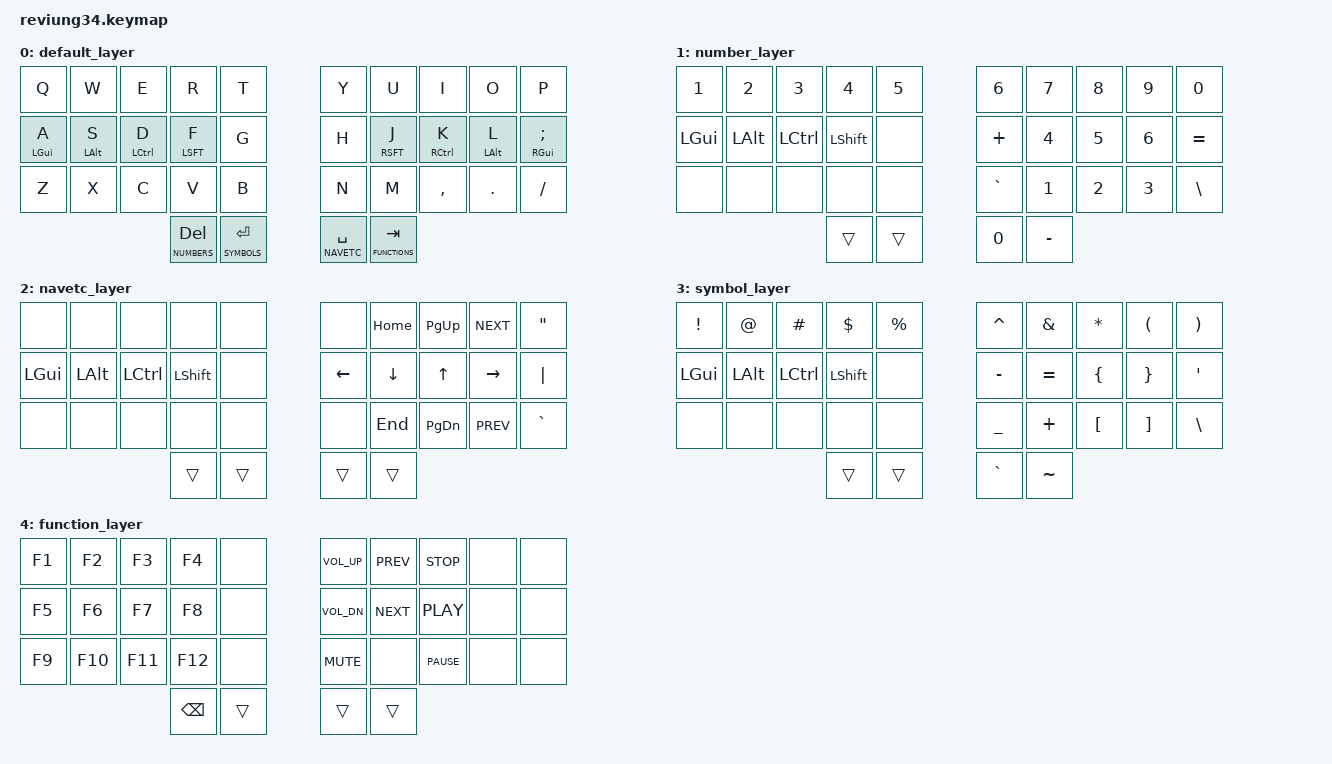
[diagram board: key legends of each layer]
/*
 * Copyright (c) 2020 The ZMK Contributors
 *
 * SPDX-License-Identifier: MIT
 */

#include <behaviors.dtsi>
#include <dt-bindings/zmk/keys.h>
#include <dt-bindings/zmk/outputs.h>

#define DEFAULT 0
#define NUMBERS 1
#define NAVETC 2
#define SYMBOLS 3
#define FUNCTIONS 4

/ {
        behaviors {
            hm: homerow_mods {
                compatible = "zmk,behavior-hold-tap";
                label = "HOMEROW_MODS";
                #binding-cells = <2>;
                tapping_term_ms = <150>;
                flavor = "tap-preferred";
                bindings = <&kp>, <&kp>;
            };
        };
};

/ {
        combos {
               compatible = "zmk,combos";
               combo_esc {
                           timeout-ms = <50>;
                           key-positions = <0 1>;
                           bindings = <&kp ESC>;
               };
                combo_caps {
                           timeout-ms = <50>;
                           key-positions = <12 17>;
                           bindings = <&caps_word>;
               };
               combo_bksp {
                           timeout-ms = <50>;
                           key-positions = <8 9>;
                           bindings = <&kp BSPC>;
               };
               combo_single_quote {
                           timeout-ms = <50>;
                           key-positions = <18 19>;
                           bindings = <&kp SINGLE_QUOTE>;
               };
        };
};

&caps_word {
    continue-list = <UNDERSCORE MINUS>;
};

/ {
        keymap {
                compatible = "zmk,keymap";

                default_layer {
// ---------------------------------------------------------------------------------------------------
// |    q    |    w    |    e     |    r    |  t  |   |  y  |    u    |    i     |    o    |    p    |
// |  lctl a |  lalt s |  lsft d  |  lgui f |  g  |   |  h  |  rgui j |  rsft k  |  lalt l |  rctl ; |
// |    z    |    x    |    c     |    v    |  b  |   |  n  |    m    |    ,     |    .    |    /    |
//                         | NUM - BSPC | SYM - ENT | NAV - SPACE | FN TAB |
                        bindings = <
        &kp Q       &kp W       &kp E       &kp R      &kp T    &kp Y    &kp U      &kp I       &kp O      &kp P
        &hm LGUI A &hm LALT S   &hm LCTRL D &hm LSFT F &kp G    &kp H    &hm RSFT J &hm RCTRL K &hm LALT L &hm RGUI SEMI
        &kp Z       &kp X       &kp C       &kp V      &kp B    &kp N    &kp M      &kp COMMA   &kp PERIOD &kp FSLH
                         &lt NUMBERS DEL    &lt SYMBOLS ENTER   &lt NAVETC SPACE    &lt FUNCTIONS TAB
                        >;
                };
        
                number_layer {
// ---------------------------------------------------------------------------
// |   1  |   2  |   3   |   4   |   5   |   |  6  |  7  |  8  |  9  |   0   |
// | lctl | lalt | lsft  | lgui  |       |   |  +  |  4  |  5  |  6  |   =   |
// |      |      |       |       |       |   |  `  |  1  |  2  |  3  |   \   |
//                         | trans | trans |   |  .  |  0  |  -  |
                        bindings = <
   &kp N1    &kp N2   &kp N3   &kp N4    &kp N5  &kp N6    &kp N7 &kp N8 &kp N9 &kp N0
   &kp LGUI &kp LALT &kp LCTRL &kp LSHFT &none   &kp PLUS  &kp N4 &kp N5 &kp N6 &kp EQUAL
   &none     &none    &none    &none     &none   &kp GRAVE &kp N1 &kp N2 &kp N3 &kp BSLH
                           &trans   &trans  &kp N0 &kp MINUS
                        >;
                };

                navetc_layer {
// -------------------------------------------------------------------------
// |      |      |       |       |       |   |    | home | pgup | next |      |  "  |
// | lctl | lalt | lsft  | lgui  |       |   |    | left | down |  up  | rght |  |  |
// |      |      |       |       |       |   |    | end  | pgdn | prev |      |  `  |
//                       | trans | trans |   |    |      |
                        bindings = <
   &none     &none    &none     &none    &none       &none    &kp HOME &kp PG_UP &kp K_NEXT &kp DOUBLE_QUOTES
   &kp LGUI &kp LALT &kp LCTRL &kp LSHFT &none       &kp LEFT &kp DOWN &kp UP    &kp RIGHT  &kp PIPE
   &none     &none    &none     &none    &none       &none    &kp END  &kp PG_DN &kp K_PREV &kp GRAVE
                                &trans  &trans       &trans  &trans
                        >;

                };

                symbol_layer {
// -------------------------------------------------------------------------
// |   !  |   @  |   #   |   $   |   %   |   |  ^  |  &  |  *  |  (  |  )  |
// | lctl | lalt | lsft  | lgui  |       |   |  -  |  =  |  {  |  }  |  '  |
// |      |      |       |       |       |   |  _  |  +  |  [  |  ]  |  \  |
//                       | trans | trans |   |  `  |  ~ |

                        bindings = <
   &kp EXCL  &kp AT    &kp HASH  &kp DLLR &kp PRCNT  &kp CARET  &kp AMPS  &kp ASTRK  &kp LPAR  &kp RPAR
   &kp LGUI &kp LALT &kp LCTRL &kp LSHFT  &none      &kp MINUS  &kp EQUAL &kp LBRC   &kp RBRC  &kp SINGLE_QUOTE
   &none     &none     &none     &none    &none      &kp UNDER  &kp PLUS  &kp LBKT   &kp RBKT  &kp BSLH
                           &trans   &trans     &kp GRAVE   &kp TILDE

                        >;
                };


                function_layer {
// -------------------------------------------------------------------------
// |      |  F1  |  F2  |  F3  |  F4  |   | vol up | prev |  stop |     |     |
// |      |  Ft  |  F6  |  F7  |  F8  |   | vol dn | next |  play |     |     |
// |      |  F9  |  F10 |  F11 |  F13 |   | mute   |      |       |     |     |
//                    | trans | trans |   |     |     |
                        bindings = <
   &kp F1 &kp F2  &kp F3  &kp F4  &none   &kp C_VOL_UP &kp C_PREV &kp C_STOP  &none &none
   &kp F5 &kp F6  &kp F7  &kp F8  &none   &kp C_VOL_DN &kp C_NEXT &kp C_PLAY  &none &none
   &kp F9 &kp F10 &kp F11 &kp F12 &none   &kp C_MUTE   &none      &kp C_PAUSE &none &none
                  &kp BSPC     &trans          &trans     &trans
                        >;

                };
        };
};
